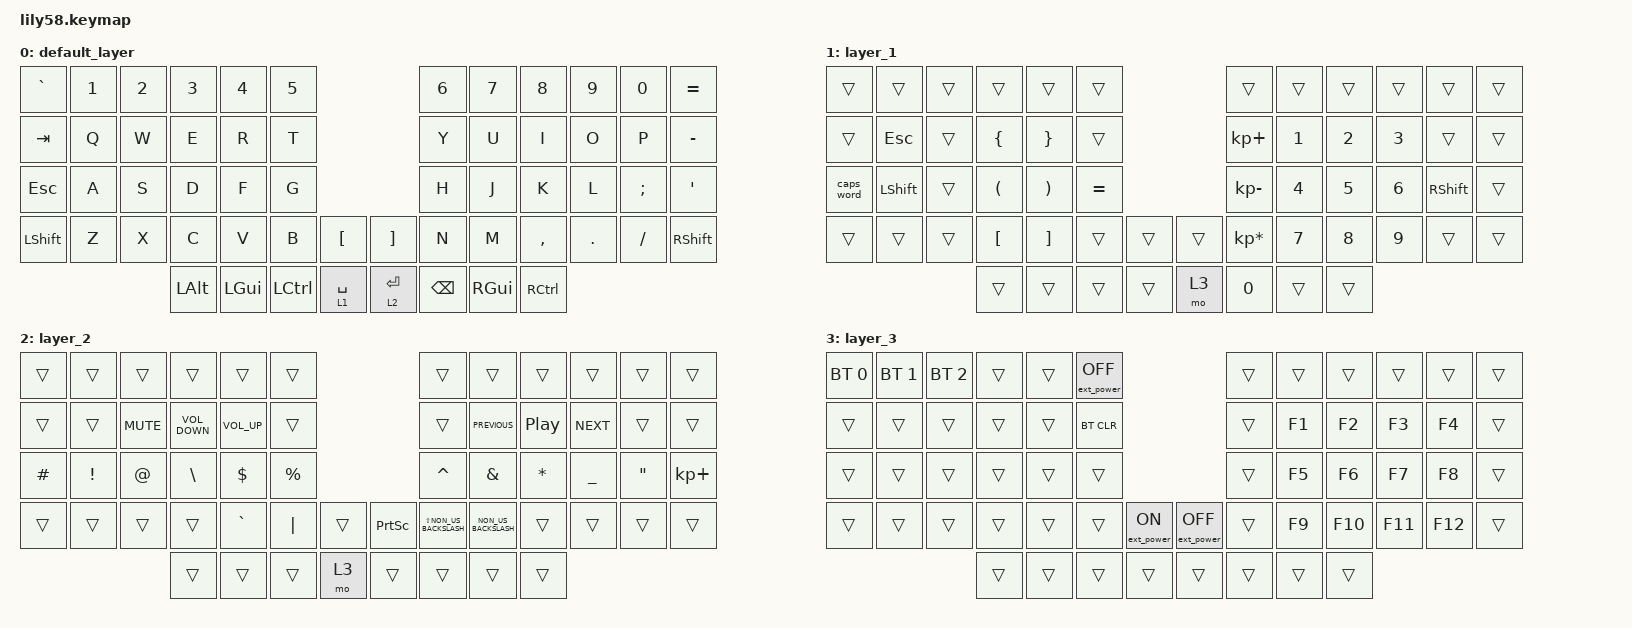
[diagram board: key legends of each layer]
/*
 * Copyright (c) 2020 The ZMK Contributors
 *
 * SPDX-License-Identifier: MIT
 */

#include <behaviors.dtsi>
#include <dt-bindings/zmk/bt.h>
#include <dt-bindings/zmk/ext_power.h>
#include <dt-bindings/zmk/keys.h>

/ {
    keymap {
        compatible = "zmk,keymap";

        default_layer {
            // ------------------------------------------------------------------------------------------------------------
            // |  ESC  |  1  |  2  |  3   |  4   |  5   |                   |  6   |  7    |  8    |  9   |   0   |   =   |
            // |  TAB  |  Q  |  W  |  E   |  R   |  T   |                   |  Y   |  U    |  I    |  O   |   P   |   -   |
            // |  CTRL |  A  |  S  |  D   |  F   |  G   |                   |  H   |  J    |  K    |  L   |   ;   |   '   |
            // | SHIFT |  Z  |  X  |  C   |  V   |  B   |   "["  |  |  "]"  |  N   |  M    |  ,    |  .   |   /   | SHIFT |
            //                     | ALT  | GUI  | LOWER|  SPACE |  | ENTER | RAISE| BSPC  | GUI   |

            bindings = <
&kp GRAVE   &kp N1  &kp N2  &kp N3    &kp N4    &kp N5                                 &kp N6         &kp N7         &kp N8     &kp N9   &kp N0    &kp EQUAL
&kp TAB     &kp Q   &kp W   &kp E     &kp R     &kp T                                  &kp Y          &kp U          &kp I      &kp O    &kp P     &kp MINUS
&kp ESCAPE  &kp A   &kp S   &kp D     &kp F     &kp G                                  &kp H          &kp J          &kp K      &kp L    &kp SEMI  &kp SQT
&kp LSHFT   &kp Z   &kp X   &kp C     &kp V     &kp B      &kp LBKT       &kp RBKT     &kp N          &kp M          &kp COMMA  &kp DOT  &kp FSLH  &kp RSHFT
                            &kp LALT  &kp LGUI  &kp LCTRL  &lt 1 SPACE    &lt 2 ENTER  &kp BACKSPACE  &kp RIGHT_GUI  &kp RCTRL
            >;
        };

        layer_1 {
            // ------------------------------------------------------------------------------------------------------------
            // | BTCLR | BT1   | BT2 |  BT3 |  BT4 |  BT5 |                   |      |       |       |      |       |       |
            // | RC(1) | RC(2) |  F3 |  F4  |  F5  |  F6  |                   |  F7  |  F8   |  F9   |  F10 |  F11  |  F12  |
            // |   `   |  !    |  @  |  #   |  $   |  %   |                   |  ^   |  &    |  *    |  (   |   )   |   ~   |
            // |       |       |     |      |      |      |        |  |       |      |  _    |  +    |  {   |   }   |  "|"  |
            //                     |      |      |      |        |  |       |      |       |       |

            bindings = <
&trans      &trans          &trans  &trans                &trans                 &trans                       &trans           &trans  &trans  &trans  &trans           &trans
&trans      &kp ESCAPE      &trans  &kp LEFT_BRACE        &kp RIGHT_BRACE        &trans                       &kp KP_PLUS      &kp N1  &kp N2  &kp N3  &trans           &trans
&caps_word  &kp LEFT_SHIFT  &trans  &kp LEFT_PARENTHESIS  &kp RIGHT_PARENTHESIS  &kp EQUAL                    &kp KP_MINUS     &kp N4  &kp N5  &kp N6  &kp RIGHT_SHIFT  &trans
&trans      &trans          &trans  &kp LEFT_BRACKET      &kp RIGHT_BRACKET      &trans     &trans    &trans  &kp KP_MULTIPLY  &kp N7  &kp N8  &kp N9  &trans           &trans
                                    &trans                &trans                 &trans     &trans    &mo 3   &kp N0           &trans  &trans
            >;
        };

        layer_2 {
            bindings = <
&trans     &trans           &trans       &trans             &trans           &trans                                  &trans                    &trans                &trans            &trans          &trans             &trans
&trans     &trans           &kp C_MUTE   &kp C_VOLUME_DOWN  &kp C_VOLUME_UP  &trans                                  &trans                    &kp C_PREVIOUS        &kp C_PLAY_PAUSE  &kp C_NEXT      &trans             &trans
&kp POUND  &kp EXCLAMATION  &kp AT_SIGN  &kp BACKSLASH      &kp DOLLAR       &kp PERCENT                             &kp CARET                 &kp AMPERSAND         &kp ASTERISK      &kp UNDERSCORE  &kp DOUBLE_QUOTES  &kp KP_PLUS
&trans     &trans           &trans       &trans             &kp GRAVE        &kp PIPE     &trans    &kp PRINTSCREEN  &kp LS(NON_US_BACKSLASH)  &kp NON_US_BACKSLASH  &trans            &trans          &trans             &trans
                                         &trans             &trans           &trans       &mo 3     &trans           &trans                    &trans                &trans
            >;
        };

        layer_3 {
            bindings = <
&bt BT_SEL 0  &bt BT_SEL 1  &bt BT_SEL 2  &trans  &trans  &ext_power EP_OFF                                         &trans  &trans  &trans   &trans   &trans   &trans
&trans        &trans        &trans        &trans  &trans  &bt BT_CLR                                                &trans  &kp F1  &kp F2   &kp F3   &kp F4   &trans
&trans        &trans        &trans        &trans  &trans  &trans                                                    &trans  &kp F5  &kp F6   &kp F7   &kp F8   &trans
&trans        &trans        &trans        &trans  &trans  &trans             &ext_power EP_ON    &ext_power EP_OFF  &trans  &kp F9  &kp F10  &kp F11  &kp F12  &trans
                                          &trans  &trans  &trans             &trans              &trans             &trans  &trans  &trans
            >;
        };
    };
};
